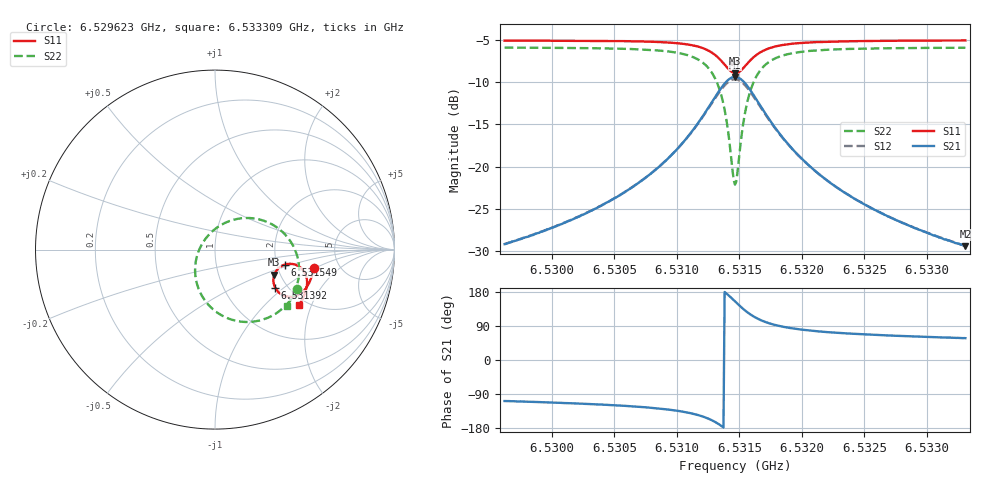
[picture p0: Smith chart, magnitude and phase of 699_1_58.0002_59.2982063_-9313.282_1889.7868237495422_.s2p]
#  HZ  S  RI  R  50.00
! Rohde & Schwarz Vector Network Analyzer
! Rohde-Schwarz,ZNB20-2Port,1311601062101988,3.16
! Created: UTC 3/21/2024, 1:21:41 AM
! freq[Hz]  re:S11  im:S11  re:S21  im:S21  re:S12  im:S12  re:S22  im:S22
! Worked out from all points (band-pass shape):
!   401 points, 6.529623 GHz to 6.533309 GHz, reference 50 ohm
!   highest |S21| = -9.34 dB at 6.531466 GHz (marker M1); lowest = -29.5 dB at 6.533309 GHz (marker M2)
!   |S21| within 3 dB of the highest: 6.531281 GHz to 6.53165 GHz (369.3 kHz wide, 0.00565 % of centre)
!   lowest |S11| = -8.9 dB at 6.531466 GHz (marker M3), VSWR 2.12, Z = 93.2 - j29.8 ohm
!   |S11| at or under -10 dB: nowhere
!   |S22| runs from -22.1 to -5.9 dB; largest |S21 - S12| = 0.015
!   S11 on the Smith chart (normalised r, x): 6.529623 GHz: 3.24, -0.96; 6.531392 GHz: 1.73, -0.87; 6.531549 GHz: 2.21, -0.44; 6.533309 GHz: 1.82, -1.64
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6.529623e9  0.5508 -0.1017  -0.0109 -0.0328  -0.0116 -0.0327  0.4584 -0.2211
6.5302403e9  0.5373 -0.154  -0.0219 -0.0467  -0.0232 -0.046  0.4216 -0.2796
6.5305628e9  0.5249 -0.185  -0.0351 -0.0593  -0.0367 -0.0584  0.3872 -0.3182
6.5308577e9  0.5045 -0.2181  -0.0614 -0.0786  -0.0638 -0.0768  0.3279 -0.3631
6.5310696e9  0.4739 -0.2465  -0.1068 -0.0976  -0.1098 -0.0935  0.2369 -0.3978
6.5312354e9  0.4207 -0.2628  -0.1896 -0.0988  -0.1914 -0.0903  0.0871 -0.3884
6.5313276e9  0.3703 -0.2496  -0.2669 -0.059  -0.2641 -0.0474  -0.0384 -0.3055
6.5313644e9  0.3486 -0.2315  -0.2984 -0.0218  -0.2921 -0.00999  -0.0835 -0.2365
6.5313921e9  0.3349 -0.2115  -0.3166 0.0166  -0.3073 0.0274  -0.1056 -0.1693
6.5314474e9  0.3262 -0.158  -0.3202 0.1127  -0.3069 0.1181  -0.0924 -0.011
6.5314658e9  0.3307 -0.1392  -0.3086 0.1454  -0.2951 0.1483  -0.0672 0.0398
6.5314842e9  0.3393 -0.1219  -0.2908 0.1751  -0.2777 0.1755  -0.0327 0.0846
6.5315211e9  0.3651 -0.0949  -0.2419 0.2198  -0.2313 0.2167  0.0552 0.1487
6.5315487e9  0.3882 -0.0836  -0.2003 0.2385  -0.1919 0.2339  0.1269 0.1716
6.5315764e9  0.411 -0.0791  -0.16 0.2453  -0.1538 0.2405  0.1948 0.1758
6.5316132e9  0.438 -0.0814  -0.1135 0.2414  -0.1094 0.237  0.272 0.1608
6.5317054e9  0.4819 -0.1053  -0.0387 0.2046  -0.0371 0.2023  0.3919 0.0827
6.5318436e9  0.5068 -0.1447  0.00475 0.1496  0.00608 0.1486  0.4553 -0.0267
6.5320831e9  0.5129 -0.192  0.0217 0.0951  0.023 0.0947  0.468 -0.138
6.5323411e9  0.507 -0.2256  0.0234 0.0661  0.0245 0.0658  0.4562 -0.2023
6.5327005e9  0.4943 -0.2606  0.0216 0.0454  0.0224 0.045  0.4348 -0.2567
6.5333086e9  0.4698 -0.3077  0.018 0.0284  0.0187 0.0282  0.3995 -0.3142
